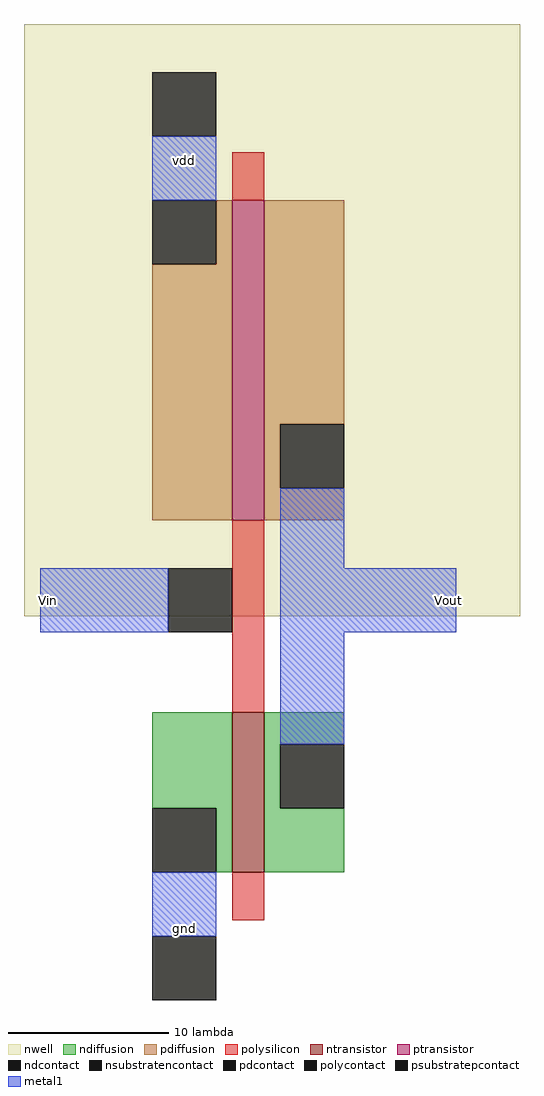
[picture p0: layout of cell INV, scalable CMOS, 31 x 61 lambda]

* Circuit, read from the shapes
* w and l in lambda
.subckt INV Vin Vout gnd vdd
M1 Vout Vin gnd gnd nfet w=10 l=2
M2 Vout Vin vdd vdd pfet w=20 l=2
.ends

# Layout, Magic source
magic
tech scmos
<< nwell >>
rect -18 -6 13 31
<< ntransistor >>
rect -5 -22 -3 -12
<< ptransistor >>
rect -5 0 -3 20
<< ndiffusion >>
rect -10 -18 -5 -12
rect -6 -22 -5 -18
rect -3 -14 2 -12
rect -3 -18 -2 -14
rect -3 -22 2 -18
<< pdiffusion >>
rect -6 16 -5 20
rect -10 0 -5 16
rect -3 6 2 20
rect -3 2 -2 6
rect -3 0 2 2
<< ndcontact >>
rect -10 -22 -6 -18
rect -2 -18 2 -14
<< pdcontact >>
rect -10 16 -6 20
rect -2 2 2 6
<< psubstratepcontact >>
rect -10 -30 -6 -26
<< nsubstratencontact >>
rect -10 24 -6 28
<< polysilicon >>
rect -5 20 -3 23
rect -5 -12 -3 0
rect -5 -25 -3 -22
<< polycontact >>
rect -9 -7 -5 -3
<< metal1 >>
rect -10 20 -6 24
rect -2 -3 2 2
rect -17 -7 -9 -3
rect -2 -7 9 -3
rect -2 -14 2 -7
rect -10 -26 -6 -22
<< labels >>
rlabel metal1 -17 -6 -16 -4 3 Vin
rlabel metal1 8 -6 9 -4 7 Vout
rlabel metal1 -10 22 -6 23 1 vdd
rlabel metal1 -10 -26 -6 -25 1 gnd
<< end >>
